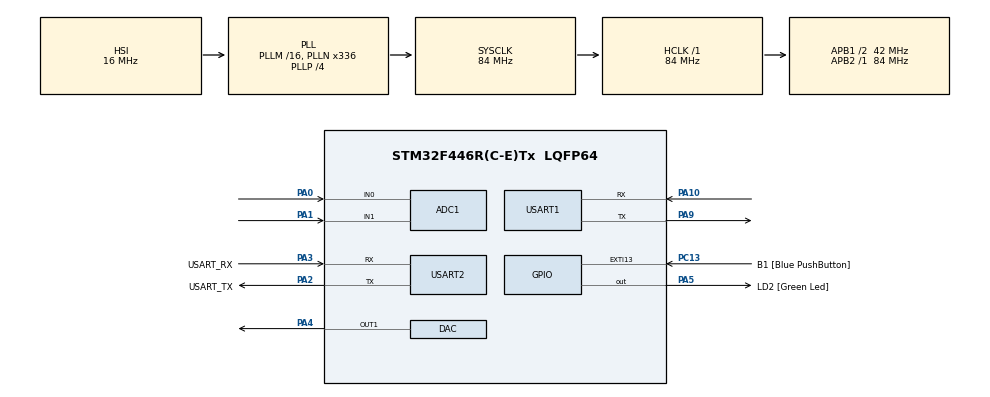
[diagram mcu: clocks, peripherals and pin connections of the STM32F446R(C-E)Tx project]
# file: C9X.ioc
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ADC1.Channel-0\#ChannelRegularConversion=ADC_CHANNEL_0
ADC1.Channel-1\#ChannelRegularConversion=ADC_CHANNEL_1
ADC1.EOCSelection=ADC_EOC_SEQ_CONV
ADC1.NbrOfConversion=2
ADC1.NbrOfConversionFlag=1
ADC1.Rank-0\#ChannelRegularConversion=1
ADC1.Rank-1\#ChannelRegularConversion=2
ADC1.SamplingTime-0\#ChannelRegularConversion=ADC_SAMPLETIME_56CYCLES
ADC1.SamplingTime-1\#ChannelRegularConversion=ADC_SAMPLETIME_56CYCLES
ADC1.master=1
Dma.ADC1.0.Direction=DMA_PERIPH_TO_MEMORY
Dma.ADC1.0.FIFOMode=DMA_FIFOMODE_DISABLE
Dma.ADC1.0.Instance=DMA2_Stream0
Dma.ADC1.0.MemDataAlignment=DMA_MDATAALIGN_WORD
Dma.ADC1.0.MemInc=DMA_MINC_ENABLE
Dma.ADC1.0.Mode=DMA_NORMAL
Dma.ADC1.0.PeriphDataAlignment=DMA_PDATAALIGN_WORD
Dma.ADC1.0.PeriphInc=DMA_PINC_DISABLE
Dma.ADC1.0.Priority=DMA_PRIORITY_LOW
Dma.Request0=ADC1
Mcu.Family=STM32F4
Mcu.Name=STM32F446R(C-E)Tx
Mcu.Package=LQFP64
NVIC.DMA2_Stream0_IRQn=true\:0\:0\:false\:false\:true\:false\:true\:true
NVIC.PriorityGroup=NVIC_PRIORITYGROUP_0
NVIC.TIM7_IRQn=true\:0\:0\:false\:false\:true\:true\:true\:true
NVIC.USART1_IRQn=true\:0\:0\:false\:false\:true\:true\:true\:true
NVIC.USART2_IRQn=true\:0\:0\:false\:false\:true\:true\:true\:true
PA0-WKUP.Signal=ADCx_IN0
PA1.Signal=ADCx_IN1
PA10.Mode=Asynchronous
PA10.Signal=USART1_RX
PA13.GPIO_Label=TMS
PA13.Signal=SYS_JTMS-SWDIO
PA14.GPIO_Label=TCK
PA14.Signal=SYS_JTCK-SWCLK
PA2.GPIO_Label=USART_TX
PA2.Mode=Asynchronous
PA2.Signal=USART2_TX
PA3.GPIO_Label=USART_RX
PA3.Mode=Asynchronous
PA3.Signal=USART2_RX
PA4.Signal=COMP_DAC1_group
PA5.GPIO_Label=LD2 [Green Led]
PA5.Signal=GPIO_Output
PA9.Mode=Asynchronous
PA9.Signal=USART1_TX
PB3.GPIO_Label=SWO
PB3.Signal=SYS_JTDO-SWO
PC13.GPIO_Label=B1 [Blue PushButton]
PC13.GPIO_ModeDefaultEXTI=GPIO_MODE_IT_FALLING
PC13.Signal=GPXTI13
PC14-OSC32_IN.Signal=RCC_OSC32_IN
PC15-OSC32_OUT.Signal=RCC_OSC32_OUT
PH0-OSC_IN.Signal=RCC_OSC_IN
PH1-OSC_OUT.Signal=RCC_OSC_OUT
ProjectManager.HeapSize=0x200
ProjectManager.StackSize=0x400
ProjectManager.TargetToolchain=STM32CubeIDE
RCC.AHBFreq_Value=84000000
RCC.APB1CLKDivider=RCC_HCLK_DIV2
RCC.APB1Freq_Value=42000000
RCC.APB1TimFreq_Value=84000000
RCC.APB2Freq_Value=84000000
RCC.APB2TimFreq_Value=84000000
RCC.CortexFreq_Value=84000000
RCC.FLatency-AdvancedSettings=FLASH_LATENCY_2
RCC.HCLKFreq_Value=84000000
RCC.HSE_VALUE=8000000
RCC.HSI_VALUE=16000000
RCC.LSE_VALUE=32768
RCC.PLLN=336
RCC.PLLP=RCC_PLLP_DIV4
RCC.SYSCLKFreq_VALUE=84000000
RCC.SYSCLKSource=RCC_SYSCLKSOURCE_PLLCLK
RCC.USBFreq_Value=168000000
RCC.VCOOutputFreq_Value=336000000
SH.ADCx_IN0.0=ADC1_IN0,IN0
SH.ADCx_IN1.0=ADC1_IN1,IN1
SH.COMP_DAC1_group.0=DAC_OUT1,DAC_OUT1
TIM7.Period=999
TIM7.Prescaler=83
USART1.VirtualMode=VM_ASYNC
USART2.VirtualMode=VM_ASYNC
VP_TIM7_VS_ClockSourceINT.Mode=Enable_Timer
board=NUCLEO-F446RE

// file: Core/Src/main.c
/* USER CODE BEGIN Header */
/**
  ******************************************************************************
  * @file           : main.c
  * @brief          : Main program body
  ******************************************************************************
  * @attention
  *
  * Copyright (c) 2025 STMicroelectronics.
  * All rights reserved.
  *
  * This software is licensed under terms that can be found in the LICENSE file
  * in the root directory of this software component.
  * If no LICENSE file comes with this software, it is provided AS-IS.
  *
  ******************************************************************************
  */
/* USER CODE END Header */
#include "main.h"

/* USER CODE BEGIN Includes */
#include <stdio.h>
#include<string.h>

/* USER CODE END Includes */

ADC_HandleTypeDef hadc1;
DMA_HandleTypeDef hdma_adc1;

DAC_HandleTypeDef hdac;

TIM_HandleTypeDef htim7;

UART_HandleTypeDef huart1;
UART_HandleTypeDef huart2;

/* USER CODE BEGIN PV */

// TFT
//PA10=USART1_RX ----- TFT_TX (BLUE)
//PA09=USART1_TX ----- TFT_RX (YELLOW)
//----------------------------------------------
// TFT-RX
#define TFT_RX_TIMEOUT_MS  20	/* timeout during reception, max time between 2 consecutive chars */
typedef struct
{
	uint8_t ui8TFTRxChar;			// single reception character
	uint8_t ui8TFTRxID;				// ID of the object sending the message
	uint8_t ui8TFTRxVal;			// sent Value
	uint8_t ui8TFTRxIndex;	// used to index the RX buffer during reception
	// ui8TFTRxIndex == 0					=> no reception is in progress
	// ui8TFTRxIndex == {0->1,1->2,2->3}	=> used during the 0xFE 0xFE 0xFE login
	// ui8TFTRxIndex == 3->4				=> Object ID 	-> ui8TFTRxID
	// ui8TFTRxIndex == 4->255				=> Data 		-> ui8TFTRxVal
	// ui8TFTRxIndex == 255					=> end of the reception
	uint8_t ui8TFTRxTimeoutMS;		// to detect timeout during reception
} TFTRxData;
TFTRxData  strTFTRxVar = {0};

// TFT-TX
typedef struct
{
	char    chTFTTxBuffer[50];		// place to store data to be sent to the TFT display
	uint8_t ui8TFTTxUpdate;			// used as Round-Robin scheduler to update Wave.CH0, Wave.CH1, t1.TXT, t2.TXT
	// ui8TFTTxUpdate == 0		=> no update
	// ui8TFTTxUpdate == 4		=> update Wave.CH0 	-> 3
	// ui8TFTTxUpdate == 3		=> update t1.TXT	-> 2
	// ui8TFTTxUpdate == 2		=> update Wave.CH1	-> 1
	// ui8TFTTxUpdate == 1		=> update t2.TXT	-> 0
	uint8_t  ui8TFTTxWaiting4TxInterrupt;		// set to 1 in main and cleared in the TXCallback
} TFTTxData;
TFTTxData strTFTTxVar = {0};
//----------------------------------------------

// ADC
#define ADC_TIMER_MS  10
typedef struct
{
	uint32_t ui32ADCBuffer[4];	// used to store the result: ui32ADCBuffer[0]=RANK1, ui32ADCBuffer[1]=RANK2
	uint8_t  ui8ADCStatus;		// for status
	// ui8ADCStatus == 0	=> no conversion is in progress
	// ui8ADCStatus == 1	=> ADC started
	// ui8ADCStatus == 2	=> ADC done, results available in ui32ADCBuffer[]
	uint8_t  ui8ADCTimer;		// used to keep track of the next triggering <- ADC_TIMER_MS
} ADCMeasurement;
ADCMeasurement strADCVar = {0};

// DAC
typedef struct
{
	uint8_t 	ui8DACNewRxValue;		// set to 1 in case of a reception from the TFT
	uint16_t	ui16DACRxValue;			// value received from the TFT
}DACData;
DACData strDACVar = {0};

// GPIO
typedef struct
{
	uint8_t 	ui8GPIONewRxValue;		// set to 1 in case of a reception from the TFT
	uint16_t	ui16GPIORxValue;		// value received from the TFT
}GPIOData;
GPIOData strGPIOVar = {0};

/* USER CODE END PV */

void SystemClock_Config(void);
static void MX_GPIO_Init(void);
static void MX_DMA_Init(void);
static void MX_ADC1_Init(void);
static void MX_USART1_UART_Init(void);
static void MX_USART2_UART_Init(void);
static void MX_DAC_Init(void);
static void MX_TIM7_Init(void);
/* USER CODE BEGIN PFP */

// TFT
void TFTInit(void);
//void TFTSystemTimer(void);		// 1KHZ, EXPORTED
void TFTRxMainLoop(void);			// called from the main loop
void TFTRxISR(void);				// called from the USART1 RX ISR
void TFTRxClear(void);				// called to clear the RX data
void TFTTxReset(void);				// resets the TFT @ booting
void TFTTxEndSend(void);			// adds the FF,FF,FF ending to a command and sends the command to the TFT

// ADC
//void ADCSystemTimer(void);			// 1KHZ EXPORTED
void ADCStartMeasurement(void);			// starts a DMA 2 RANK measurement
void ADCMainLoop(void);					// called in the main loop to handle ADC results and update the TFT

// DAC
void DACInit(void);				// called @ initialization
void DACMainLoop(void);				// updates the DAC in case of a new value received from the TFT

// GPIO
void GPIOInit(void);				// called @ initialization
void GPIOMainLoop(void);				// updates the GPIO PA5 in case of a new value received from the TFT

/* USER CODE END PFP */

int main(void)
{

  /* MCU Configuration--------------------------------------------------------*/

  /* Reset of all peripherals, Initializes the Flash interface and the Systick. */
  HAL_Init();

  /* Configure the system clock */
  SystemClock_Config();

  /* Initialize all configured peripherals */
  MX_GPIO_Init();
  MX_DMA_Init();
  MX_ADC1_Init();
  MX_USART1_UART_Init();
  MX_USART2_UART_Init();
  MX_DAC_Init();
  MX_TIM7_Init();
  /* USER CODE BEGIN 2 */

  TFTInit();
  ADCStartMeasurement();
  DACInit();
  GPIOInit();

  /* USER CODE END 2 */

  /* Infinite loop */
  /* USER CODE BEGIN WHILE */
  while (1)
  {

	  TFTRxMainLoop();
	  ADCMainLoop();
	  DACMainLoop();
	  GPIOMainLoop();

    /* USER CODE END WHILE */

  }
}

void SystemClock_Config(void)
{
  RCC_OscInitTypeDef RCC_OscInitStruct = {0};
  RCC_ClkInitTypeDef RCC_ClkInitStruct = {0};

  /** Configure the main internal regulator output voltage
  */
  __HAL_RCC_PWR_CLK_ENABLE();
  __HAL_PWR_VOLTAGESCALING_CONFIG(PWR_REGULATOR_VOLTAGE_SCALE3);

  /** Initializes the RCC Oscillators according to the specified parameters
  * in the RCC_OscInitTypeDef structure.
  */
  RCC_OscInitStruct.OscillatorType = RCC_OSCILLATORTYPE_HSI;
  RCC_OscInitStruct.HSIState = RCC_HSI_ON;
  RCC_OscInitStruct.HSICalibrationValue = RCC_HSICALIBRATION_DEFAULT;
  RCC_OscInitStruct.PLL.PLLState = RCC_PLL_ON;
  RCC_OscInitStruct.PLL.PLLSource = RCC_PLLSOURCE_HSI;
  RCC_OscInitStruct.PLL.PLLM = 16;
  RCC_OscInitStruct.PLL.PLLN = 336;
  RCC_OscInitStruct.PLL.PLLP = RCC_PLLP_DIV4;
  RCC_OscInitStruct.PLL.PLLQ = 2;
  RCC_OscInitStruct.PLL.PLLR = 2;
  if (HAL_RCC_OscConfig(&RCC_OscInitStruct) != HAL_OK)
  {
    Error_Handler();
  }

  /** Initializes the CPU, AHB and APB buses clocks
  */
  RCC_ClkInitStruct.ClockType = RCC_CLOCKTYPE_HCLK|RCC_CLOCKTYPE_SYSCLK
                              |RCC_CLOCKTYPE_PCLK1|RCC_CLOCKTYPE_PCLK2;
  RCC_ClkInitStruct.SYSCLKSource = RCC_SYSCLKSOURCE_PLLCLK;
  RCC_ClkInitStruct.AHBCLKDivider = RCC_SYSCLK_DIV1;
  RCC_ClkInitStruct.APB1CLKDivider = RCC_HCLK_DIV2;
  RCC_ClkInitStruct.APB2CLKDivider = RCC_HCLK_DIV1;

  if (HAL_RCC_ClockConfig(&RCC_ClkInitStruct, FLASH_LATENCY_2) != HAL_OK)
  {
    Error_Handler();
  }
}

static void MX_ADC1_Init(void)
{

  ADC_ChannelConfTypeDef sConfig = {0};

  /** Configure the global features of the ADC (Clock, Resolution, Data Alignment and number of conversion)
  */
  hadc1.Instance = ADC1;
  hadc1.Init.ClockPrescaler = ADC_CLOCK_SYNC_PCLK_DIV4;
  hadc1.Init.Resolution = ADC_RESOLUTION_12B;
  hadc1.Init.ScanConvMode = ENABLE;
  hadc1.Init.ContinuousConvMode = DISABLE;
  hadc1.Init.DiscontinuousConvMode = DISABLE;
  hadc1.Init.ExternalTrigConvEdge = ADC_EXTERNALTRIGCONVEDGE_NONE;
  hadc1.Init.ExternalTrigConv = ADC_SOFTWARE_START;
  hadc1.Init.DataAlign = ADC_DATAALIGN_RIGHT;
  hadc1.Init.NbrOfConversion = 2;
  hadc1.Init.DMAContinuousRequests = DISABLE;
  hadc1.Init.EOCSelection = ADC_EOC_SEQ_CONV;
  if (HAL_ADC_Init(&hadc1) != HAL_OK)
  {
    Error_Handler();
  }

  /** Configure for the selected ADC regular channel its corresponding rank in the sequencer and its sample time.
  */
  sConfig.Channel = ADC_CHANNEL_0;
  sConfig.Rank = 1;
  sConfig.SamplingTime = ADC_SAMPLETIME_56CYCLES;
  if (HAL_ADC_ConfigChannel(&hadc1, &sConfig) != HAL_OK)
  {
    Error_Handler();
  }

  /** Configure for the selected ADC regular channel its corresponding rank in the sequencer and its sample time.
  */
  sConfig.Channel = ADC_CHANNEL_1;
  sConfig.Rank = 2;
  if (HAL_ADC_ConfigChannel(&hadc1, &sConfig) != HAL_OK)
  {
    Error_Handler();
  }

}

static void MX_DAC_Init(void)
{

  DAC_ChannelConfTypeDef sConfig = {0};

  /** DAC Initialization
  */
  hdac.Instance = DAC;
  if (HAL_DAC_Init(&hdac) != HAL_OK)
  {
    Error_Handler();
  }

  /** DAC channel OUT1 config
  */
  sConfig.DAC_Trigger = DAC_TRIGGER_NONE;
  sConfig.DAC_OutputBuffer = DAC_OUTPUTBUFFER_ENABLE;
  if (HAL_DAC_ConfigChannel(&hdac, &sConfig, DAC_CHANNEL_1) != HAL_OK)
  {
    Error_Handler();
  }

}

static void MX_TIM7_Init(void)
{

  TIM_MasterConfigTypeDef sMasterConfig = {0};

  htim7.Instance = TIM7;
  htim7.Init.Prescaler = 83;
  htim7.Init.CounterMode = TIM_COUNTERMODE_UP;
  htim7.Init.Period = 999;
  htim7.Init.AutoReloadPreload = TIM_AUTORELOAD_PRELOAD_DISABLE;
  if (HAL_TIM_Base_Init(&htim7) != HAL_OK)
  {
    Error_Handler();
  }
  sMasterConfig.MasterOutputTrigger = TIM_TRGO_RESET;
  sMasterConfig.MasterSlaveMode = TIM_MASTERSLAVEMODE_DISABLE;
  if (HAL_TIMEx_MasterConfigSynchronization(&htim7, &sMasterConfig) != HAL_OK)
  {
    Error_Handler();
  }

}

static void MX_USART1_UART_Init(void)
{

  huart1.Instance = USART1;
  huart1.Init.BaudRate = 115200;
  huart1.Init.WordLength = UART_WORDLENGTH_8B;
  huart1.Init.StopBits = UART_STOPBITS_1;
  huart1.Init.Parity = UART_PARITY_NONE;
  huart1.Init.Mode = UART_MODE_TX_RX;
  huart1.Init.HwFlowCtl = UART_HWCONTROL_NONE;
  huart1.Init.OverSampling = UART_OVERSAMPLING_16;
  if (HAL_UART_Init(&huart1) != HAL_OK)
  {
    Error_Handler();
  }

}

static void MX_USART2_UART_Init(void)
{

  huart2.Instance = USART2;
  huart2.Init.BaudRate = 115200;
  huart2.Init.WordLength = UART_WORDLENGTH_8B;
  huart2.Init.StopBits = UART_STOPBITS_1;
  huart2.Init.Parity = UART_PARITY_NONE;
  huart2.Init.Mode = UART_MODE_TX_RX;
  huart2.Init.HwFlowCtl = UART_HWCONTROL_NONE;
  huart2.Init.OverSampling = UART_OVERSAMPLING_16;
  if (HAL_UART_Init(&huart2) != HAL_OK)
  {
    Error_Handler();
  }

}

static void MX_DMA_Init(void)
{

  /* DMA controller clock enable */
  __HAL_RCC_DMA2_CLK_ENABLE();

  /* DMA interrupt init */
  /* DMA2_Stream0_IRQn interrupt configuration */
  HAL_NVIC_SetPriority(DMA2_Stream0_IRQn, 0, 0);
  HAL_NVIC_EnableIRQ(DMA2_Stream0_IRQn);

}

static void MX_GPIO_Init(void)
{
  GPIO_InitTypeDef GPIO_InitStruct = {0};

  /* GPIO Ports Clock Enable */
  __HAL_RCC_GPIOC_CLK_ENABLE();
  __HAL_RCC_GPIOH_CLK_ENABLE();
  __HAL_RCC_GPIOA_CLK_ENABLE();
  __HAL_RCC_GPIOB_CLK_ENABLE();

  /*Configure GPIO pin Output Level */
  HAL_GPIO_WritePin(LD2_GPIO_Port, LD2_Pin, GPIO_PIN_RESET);

  /*Configure GPIO pin : B1_Pin */
  GPIO_InitStruct.Pin = B1_Pin;
  GPIO_InitStruct.Mode = GPIO_MODE_IT_FALLING;
  GPIO_InitStruct.Pull = GPIO_NOPULL;
  HAL_GPIO_Init(B1_GPIO_Port, &GPIO_InitStruct);

  /*Configure GPIO pin : LD2_Pin */
  GPIO_InitStruct.Pin = LD2_Pin;
  GPIO_InitStruct.Mode = GPIO_MODE_OUTPUT_PP;
  GPIO_InitStruct.Pull = GPIO_NOPULL;
  GPIO_InitStruct.Speed = GPIO_SPEED_FREQ_LOW;
  HAL_GPIO_Init(LD2_GPIO_Port, &GPIO_InitStruct);

}

/* USER CODE BEGIN 4 */

//UART
void HAL_UART_TxCpltCallback(UART_HandleTypeDef *huart)
{
  /* Prevent unused argument(s) compilation warning */
  //UNUSED(huart);
  /* NOTE: This function should not be modified, when the callback is needed,
           the HAL_UART_TxCpltCallback could be implemented in the user file
   */

	// check for TFT
	if(huart->Instance == USART1)
	{	// UART1 is for TFT
		if(strTFTTxVar.ui8TFTTxUpdate) strTFTTxVar.ui8TFTTxUpdate --;	// target tnext field for update
		strTFTTxVar.ui8TFTTxWaiting4TxInterrupt = 0;
		return;
	}
}
void HAL_UART_RxCpltCallback(UART_HandleTypeDef *huart)
{
  /* Prevent unused argument(s) compilation warning */
  //UNUSED(huart);
  /* NOTE: This function should not be modified, when the callback is needed,
           the HAL_UART_TxCpltCallback could be implemented in the user file
   */

	// check for TFT
	if(huart->Instance == USART1)
	{	// UART1 is for TFT
		TFTRxISR();
		HAL_UART_Receive_IT(&huart1, &strTFTRxVar.ui8TFTRxChar, 1);
		return;
	}
}
//-----------------------------------

// TFT
// RX
void TFTSystemTimer(void)		// 1KHZ
{
	if((strTFTRxVar.ui8TFTRxIndex == 255) || (strTFTRxVar.ui8TFTRxIndex == 0))
	{	// RX not started or already done and waiting to be processed
		strTFTRxVar.ui8TFTRxTimeoutMS = TFT_RX_TIMEOUT_MS;
		return;
	}

	if(strTFTRxVar.ui8TFTRxTimeoutMS)
	{
		strTFTRxVar.ui8TFTRxTimeoutMS --;
		if(strTFTRxVar.ui8TFTRxTimeoutMS == 0) TFTRxClear(); //timeout
	}
	return;
}
void TFTInit(void)
{
	strTFTTxVar.ui8TFTTxWaiting4TxInterrupt = 0;
	TFTTxReset();
	HAL_Delay(50);

	TFTRxClear();
	// start RX
	HAL_UART_Receive_IT(&huart1, &strTFTRxVar.ui8TFTRxChar, 1);
	return;
}
void TFTRxMainLoop(void)			// called from the main loop
{
	double		dTemp;

	if(strTFTRxVar.ui8TFTRxIndex != 255) return;	// no message from the TFT display

	// some new message was received from the TFT display

	// check DAC
	if(strTFTRxVar.ui8TFTRxID == 4)
	{	// ID=4 => Slider
		if(strTFTRxVar.ui8TFTRxVal < 101)
		{	// value is inthe range
			dTemp = (double)strTFTRxVar.ui8TFTRxVal;
			dTemp *= 4095;
			dTemp /= 100;
			strDACVar.ui16DACRxValue = (uint16_t)dTemp;
			if(strDACVar.ui16DACRxValue > 4095) strDACVar.ui16DACRxValue = 4095;
			strDACVar.ui8DACNewRxValue = 1;
		}
		TFTRxClear();
		return;
	}

	// check GPIO
	if(strTFTRxVar.ui8TFTRxID == 3)
	{	// ID=3 => ON/OFF Pic.
		if(strTFTRxVar.ui8TFTRxVal)	strGPIOVar.ui16GPIORxValue = 1;	// ON
		else						strGPIOVar.ui16GPIORxValue = 0;	// OFF
		strGPIOVar.ui8GPIONewRxValue = 1;
		TFTRxClear();
		return;
	}

	TFTRxClear();	// unknown message
	return;
}
void TFTRxISR(void)					// called from the USART1 RX ISR
{	// a new char was received from the TFT display. the char is stored in the "strTFTRxVar.ui8TFTRxChar" variable
	// ui8TFTRxIndex == 0					=> no reception is in progress
	// ui8TFTRxIndex == {0->1,1->2,2->3}	=> used during the 0xFE 0xFE 0xFE login
	// ui8TFTRxIndex == 3->4				=> Object ID 	-> ui8TFTRxID
	// ui8TFTRxIndex == 4->255				=> Data 		-> ui8TFTRxVal
	// ui8TFTRxIndex == 255					=> end of the reception
	//-----------------------

	if(strTFTRxVar.ui8TFTRxIndex == 0)
	{	// Login 1/3
		if(strTFTRxVar.ui8TFTRxChar == 0xFE)	strTFTRxVar.ui8TFTRxIndex = 1;
		else  TFTRxClear();
		return;
	}

	strTFTRxVar.ui8TFTRxTimeoutMS = TFT_RX_TIMEOUT_MS;

	if(strTFTRxVar.ui8TFTRxIndex == 1)
	{	// Login 2/3
		if(strTFTRxVar.ui8TFTRxChar == 0xFE)	strTFTRxVar.ui8TFTRxIndex = 2;
		else  TFTRxClear();
		return;
	}

	if(strTFTRxVar.ui8TFTRxIndex == 2)
	{	// Login 3/3
		if(strTFTRxVar.ui8TFTRxChar == 0xFE)	strTFTRxVar.ui8TFTRxIndex = 3;
		else  TFTRxClear();
		return;
	}

	//ID
	if(strTFTRxVar.ui8TFTRxIndex == 3)
	{	// ID received
		strTFTRxVar.ui8TFTRxIndex = 4;
		strTFTRxVar.ui8TFTRxID = strTFTRxVar.ui8TFTRxChar;
		return;
	}

	//Value
	if(strTFTRxVar.ui8TFTRxIndex == 4)
	{	// Value received
		strTFTRxVar.ui8TFTRxIndex = 255;	// end of reception
		strTFTRxVar.ui8TFTRxVal = strTFTRxVar.ui8TFTRxChar;
		return;
	}

	TFTRxClear();	// something is wrong ....
	return;
}
void TFTRxClear(void)				// called to clear the RX data
{
	strTFTRxVar.ui8TFTRxChar = 0;
	strTFTRxVar.ui8TFTRxID = 0;
	strTFTRxVar.ui8TFTRxVal = 0;
	strTFTRxVar.ui8TFTRxIndex = 0;
	return;
}
// TX
void TFTTxReset(void)				// resets the TFT @ booting
{
	while(strTFTTxVar.ui8TFTTxWaiting4TxInterrupt);	// just in case ...
	sprintf(strTFTTxVar.chTFTTxBuffer,"rest");
	TFTTxEndSend();
	return;
}
void TFTTxEndSend(void)			// adds the FF,FF,FF ending to a command and sends the command to the TFT
{
	//strTFTTxVar.chTFTTxBuffer[] already contains the message needed to be sent to the TFT dinsplay, must add the FF,FF,FF
	uint16_t ui16Temp;

	ui16Temp = (uint16_t)strlen(strTFTTxVar.chTFTTxBuffer);

	strTFTTxVar.chTFTTxBuffer[ui16Temp] = (char)0xFF;
	ui16Temp ++;
	strTFTTxVar.chTFTTxBuffer[ui16Temp] = (char)0xFF;
	ui16Temp ++;
	strTFTTxVar.chTFTTxBuffer[ui16Temp] = (char)0xFF;
	ui16Temp ++;

	strTFTTxVar.ui8TFTTxWaiting4TxInterrupt = 1;	// waiting for TX End interrupt
	HAL_UART_Transmit_IT(&huart1, (uint8_t*)strTFTTxVar.chTFTTxBuffer, ui16Temp);

	return;
}
//-----------------------------------

// ADC
void HAL_ADC_ConvCpltCallback(ADC_HandleTypeDef *hadc)
{
  /* Prevent unused argument(s) compilation warning */
  //UNUSED(hadc);
  /* NOTE : This function Should not be modified, when the callback is needed,
            the HAL_ADC_ConvCpltCallback could be implemented in the user file
   */
	strADCVar.ui8ADCStatus = 2;	// conversion completed

}
void ADCSystemTimer(void)			// 1KHZ
{
	if(strADCVar.ui8ADCStatus  != 2)
	{	// measurement is still running ...
		strADCVar.ui8ADCTimer = ADC_TIMER_MS;
		return;
	}
	if(strADCVar.ui8ADCTimer)
	{	// measurement done, decrement to start another measurement
		strADCVar.ui8ADCTimer --;
		return;
	}
}
void ADCStartMeasurement(void)			// starts a DMA 2 RANK measurement
{
	HAL_ADC_Start_DMA(&hadc1, strADCVar.ui32ADCBuffer, 2);
	strADCVar.ui8ADCStatus = 1;	// ADC measurement started
	return;
}
void ADCMainLoop(void)					// called in the main loop to handle ADC results
{
	double 		dTemp;
	uint32_t 	ui32Temp;
	//------------------------

	if(strADCVar.ui8ADCStatus  != 2) return;	// no ADC results available

	// prepare and send data to TFT
	if(strTFTTxVar.ui8TFTTxWaiting4TxInterrupt) return;	// previous TX not yet done
	// ----- ADC_CH0 (RANK1)
	// Waveform CH0
	if(strTFTTxVar.ui8TFTTxUpdate == 4)
	{
		// TFT scale between 0 and 100
		dTemp = (double) strADCVar.ui32ADCBuffer[0];	// between 0 and 4095
		dTemp *= 100;
		dTemp /= 4095;
		ui32Temp = (uint32_t)dTemp;
		sprintf(strTFTTxVar.chTFTTxBuffer,"add 2,0,%d",(uint16_t)ui32Temp);
		TFTTxEndSend();
		return;
	}
	// Text t1
	if(strTFTTxVar.ui8TFTTxUpdate == 3)
	{
		// format 1234 [mV]
		dTemp = (double) strADCVar.ui32ADCBuffer[0];	// between 0 and 4095
		dTemp *= 3300;
		dTemp /= 4095;
		ui32Temp = (uint32_t)dTemp;
		sprintf(strTFTTxVar.chTFTTxBuffer,"t1.txt=\"%04d [mV]\"",(uint16_t)ui32Temp);
		TFTTxEndSend();
		return;
	}

	// ----- ADC_CH1 (RANK2)
	// Waveform CH1
	if(strTFTTxVar.ui8TFTTxUpdate == 2)
	{
		// TFT scale between 110 and 210
		dTemp = (double) strADCVar.ui32ADCBuffer[1];	// between 0 and 4095
		dTemp *= 100;
		dTemp /= 4095;
		dTemp += 110;
		ui32Temp = (uint32_t)dTemp;
		sprintf(strTFTTxVar.chTFTTxBuffer,"add 2,1,%d",(uint16_t)ui32Temp);
		TFTTxEndSend();
		return;
	}
	// Text t2
	if(strTFTTxVar.ui8TFTTxUpdate == 1)
	{
		// format 1234 [mV]
		dTemp = (double) strADCVar.ui32ADCBuffer[1];	// between 0 and 4095
		dTemp *= 3300;
		dTemp /= 4095;
		ui32Temp = (uint32_t)dTemp;
		sprintf(strTFTTxVar.chTFTTxBuffer,"t2.txt=\"%04d [mV]\"",(uint16_t)ui32Temp);
		TFTTxEndSend();
		return;
	}

	// start another measurement
	//strTFTTxVar.ui8TFTTxUpdate must be == 0!
	if(!strADCVar.ui8ADCTimer)
	{
		ADCStartMeasurement();
		strTFTTxVar.ui8TFTTxUpdate = 4;	// prepare another TFT update
	}

	char chTXBuffer[50];
	sprintf(chTXBuffer,"%d,%d\r\n",(uint16_t)strADCVar.ui32ADCBuffer[0],(uint16_t)strADCVar.ui32ADCBuffer[1]);
	HAL_UART_Transmit(&huart2, (uint8_t*)chTXBuffer, strlen(chTXBuffer),HAL_MAX_DELAY);

	return;
}
//-----------------------------------

// DAC
void DACInit(void)				// called @ initialization
{
	HAL_DAC_Start(&hdac, DAC_CHANNEL_1);
	strDACVar.ui16DACRxValue = 2048;	// 50%
	strDACVar.ui8DACNewRxValue = 1;
	return;
}
void DACMainLoop(void)				// updates the DAC in case of a new value received from the TFT
{
	if(strDACVar.ui8DACNewRxValue)
	{
		strDACVar.ui8DACNewRxValue = 0;
		HAL_DAC_SetValue(&hdac, DAC_CHANNEL_1, DAC_ALIGN_12B_R, strDACVar.ui16DACRxValue);
	}
}
//-----------------------------------

// GPIO
void GPIOInit(void)				// called @ initialization
{
	strGPIOVar.ui16GPIORxValue = 0;
	strGPIOVar.ui8GPIONewRxValue = 1;
	return;
}
void GPIOMainLoop(void)				// updates the GPIO PA5 in case of a new value received from the TFT
{
	if(strGPIOVar.ui8GPIONewRxValue)
	{
		strGPIOVar.ui8GPIONewRxValue = 0;
		if(strGPIOVar.ui16GPIORxValue)	HAL_GPIO_WritePin(GPIOA, GPIO_PIN_5, GPIO_PIN_SET);
		else 							HAL_GPIO_WritePin(GPIOA, GPIO_PIN_5, GPIO_PIN_RESET);
	}
	return;
}
//-----------------------------------

/* USER CODE END 4 */

void Error_Handler(void)
{
  __disable_irq();
  while (1)
  {
  }
}
